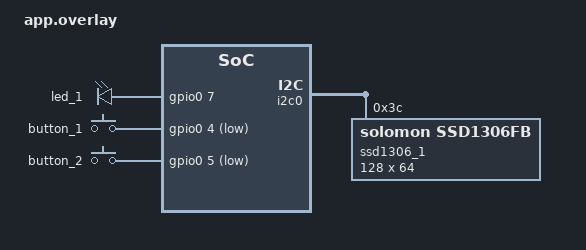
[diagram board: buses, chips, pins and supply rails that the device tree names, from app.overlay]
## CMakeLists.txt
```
cmake_minimum_required(VERSION 3.20.0)

set(BOARD esp32s3_devkitc/esp32s3/procpu)
#set(BOARD esp32_devkitc/esp32/procpu)

find_package(Zephyr REQUIRED HINTS $ENV{ZEPHYR_BASE})
project(button_demo)
include_directories(include)

target_sources(app PRIVATE src/main.c src/ssd1306.c)
```

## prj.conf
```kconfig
CONFIG_CONSOLE=y
CONFIG_SERIAL=y
CONFIG_UART_CONSOLE=y
CONFIG_GPIO=y
CONFIG_I2C=y
CONFIG_DISPLAY=y
CONFIG_SSD1306=y
CONFIG_CHARACTER_FRAMEBUFFER=y
```

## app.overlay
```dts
/{
	aliases{
		button1 = &button_1;
		button2 = &button_2;
		led1 = &led_1;
		oled=&ssd1306_1;
	};

	leds{
		compatible = "gpio-leds";
		led_1:led_1{
			gpios = <&gpio0 7 GPIO_ACTIVE_HIGH>;
		};
	};
	buttons{
		compatible = "gpio-keys";
		button_1:button_1{
			gpios = <&gpio0 4 (GPIO_ACTIVE_LOW | GPIO_PULL_UP)>;
		};
		button_2:button_2{
			gpios = <&gpio0 5 (GPIO_ACTIVE_LOW | GPIO_PULL_UP)>;
		};
	};


};


&i2c0{
	status = "okay";
	pinctrl-0 = <&i2c0_default>;
	pinctrl-names = "default";
	ssd1306_1:ssd1306@3c{
		compatible = "solomon,ssd1306fb";
		reg =<0x3c>;
		segment-offset = <0>;
		page-offset = <0>;
		display-offset=<0>;
		multiplex-ratio = <63>;
		prechargep = <0x22>;
		width = <128>;
		height = <64>;
	};
};
```

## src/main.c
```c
#include <zephyr/kernel.h>
#include <zephyr/device.h>
#include <zephyr/drivers/gpio.h>
#include <zephyr/drivers/i2c.h>
#include <zephyr/drivers/display.h>
#include <zephyr/display/cfb.h>
#include <zephyr/sys/printk.h>
#include <string.h>
#include <stdio.h>

#define LED DT_ALIAS(led1)
#define BUTTON DT_ALIAS(button1)
#define BUTTON_NEXT DT_ALIAS(button2)
#define OLED DT_ALIAS(oled)
static const struct gpio_dt_spec led = GPIO_DT_SPEC_GET(LED, gpios);   
static const struct gpio_dt_spec button = GPIO_DT_SPEC_GET(BUTTON, gpios);
static const struct gpio_dt_spec button_next = GPIO_DT_SPEC_GET(BUTTON_NEXT, gpios);

static const struct device *ssd1306 = DEVICE_DT_GET(OLED);


#define blink_times_ms  100

    struct cfb_position start_rec = {
        .x = 10,
        .y = 0,
    };
    struct cfb_position end_rec = {
        .x = 20,
        .y = 5,
    };
int count=0;
int main(void){
    if(!gpio_is_ready_dt(&led)){
        printf("led is not ready\n");
        return 0;
    }

    if (!gpio_is_ready_dt(&button) || !gpio_is_ready_dt(&button_next)){
        printf("button is not ready\n");
        return 0;
    }
    //CHECK IF THE OLED IS READY 
    if(!device_is_ready(ssd1306)){
        printf("oled not ready\n");
        return 0;
    }


    gpio_pin_configure_dt(&led, GPIO_OUTPUT);

    gpio_pin_configure_dt(&button, GPIO_INPUT);
    gpio_pin_configure_dt(&button_next, GPIO_INPUT);
     if (cfb_framebuffer_init(ssd1306)) {
        return -EIO;
    }
    if(display_set_orientation(ssd1306, DISPLAY_ORIENTATION_ROTATED_270) !=0){
            printf("orientation not set\n");
            //return 0;
        }
    cfb_framebuffer_clear(ssd1306, false);
    display_blanking_off(ssd1306);
    cfb_framebuffer_clear(ssd1306, true);
   
    bool state; 
    char nom[] = "Count: ";
    char message[100];
    
    struct cfb_position start = {
        .x= 0,
        .y=15,
    };
    struct cfb_position end = {
        .x = 128,
        .y = 15,
    };
    struct cfb_position circle = {
        .x = 25,
        .y = 40,
    };
    cfb_framebuffer_invert(ssd1306);
    while(1){
        state = gpio_pin_get_dt(&button);
        if(gpio_pin_get_dt(&button_next)){
            end_rec.y = end_rec.y + 2;
            start_rec.y = start_rec.y + 2;
            printf(" end_rec.x %d\n",  end_rec.x);
            printf(" start_rec.x  %d\n",  start_rec.x );
            if(end_rec.y >=64 || start_rec.y >=59 ){
                end_rec.y=5;
                start_rec.y=0;
  
            }
        }
 
        printf("end_rec.x  %d\n", end_rec.x);
        snprintf(message, sizeof(message), "Count : %d", count);
        cfb_framebuffer_clear(ssd1306, false);
        //cfb_print(ssd1306, message, 20, 20);
        cfb_draw_line(ssd1306, &start, &end );   //draw line 
        draw_acceuil(ssd1306);
        
        draw_circles(ssd1306, count);
        //cfb_framebuffer_set_font(ssd1306, 0.5);
        //cfb_framebuffer_clear(ssd1306, true);
       cfb_draw_rect(ssd1306, &start_rec, &end_rec);
        if(state){
            gpio_pin_toggle_dt(&led);
            count++;
            end_rec.x = end_rec.x + 4;
            start_rec.x = start_rec.x + 4;
            printf(" end_rec.x %d\n",  end_rec.x);
            printf(" start_rec.x  %d\n",  start_rec.x );
            if(end_rec.x >=128 || start_rec.x >=118 ){
                end_rec.x=20;
                start_rec.x=010;
  
            }

        }
        
    cfb_framebuffer_finalize(ssd1306);
    
        k_msleep(blink_times_ms);
    }
}
```

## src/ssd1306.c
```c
#include "ssd1306.h"

#define CIRCLE_CENTER_X   64
#define CIRCLE_CENTER_Y   32
#define CIRCLE_MIN_RADIUS 2
#define CIRCLE_MAX_RADIUS 30
#define CIRCLE_COUNT      4
#define CIRCLE_SPACING    (CIRCLE_MAX_RADIUS / CIRCLE_COUNT)
#define CIRCLE_GROWTH_STEP 1
#define TIME_POSX  0
#define TIME_POSY  0

#define INTRO_POSX  30
#define INTRO_POSY  20

//wifi barres conf 
struct cfb_position start1 = {
        .x= 2,
        .y=10,
    };
 struct cfb_position end1 = {
        .x = 2,
        .y = 9,
    };
 struct cfb_position start2 = {
        .x= 5,
        .y=10,
    };
struct cfb_position end2 = {
        .x = 5,
        .y = 6,
    };
 struct cfb_position start3 = {
        .x= 8,
        .y=10,
    };
struct cfb_position end3 = {
        .x = 8,
        .y = 3,
    };
 struct cfb_position start4 = {
        .x= 11,
        .y=10,
    };
struct cfb_position end4 = {
        .x = 11,
        .y = 0,
    };


void position_nomber_of_cercle(struct cfb_position *tab[], int number){
    for(int i=0; i<number; i++){
        tab[i]->x = i+2;
        tab[i]->y = i+2;
    }
}

void draw_circles(const struct device *dev, int numbers){
    ARG_UNUSED(numbers);

    static int radius = CIRCLE_MIN_RADIUS;

    struct cfb_position center = {
        .x = CIRCLE_CENTER_X,
        .y = CIRCLE_CENTER_Y,
    };

    for (int i = 0; i < CIRCLE_COUNT; i++) {
        int r = ((radius + i * CIRCLE_SPACING - CIRCLE_MIN_RADIUS) % (CIRCLE_MAX_RADIUS - CIRCLE_MIN_RADIUS))
                + CIRCLE_MIN_RADIUS;
        cfb_draw_circle(dev, &center, r);
    }

    radius += CIRCLE_GROWTH_STEP;
    if (radius >= CIRCLE_MAX_RADIUS) {
        radius = CIRCLE_MIN_RADIUS;
    }
}

void draw_wifi(const struct device *dev){
    cfb_draw_line(dev, &start1, &end1);
    cfb_draw_line(dev, &start2, &end2);
    cfb_draw_line(dev, &start3, &end3);
    cfb_draw_line(dev, &start4, &end4);
}

struct cfb_position startbat = {
        .x= 110,
        .y=10,
    };
struct cfb_position endbat = {
        .x = 126,
        .y = 1,
    };
struct cfb_position startbatf = {
        .x= 109,
        .y=8,
    };
struct cfb_position endbatf = {
        .x = 109,
        .y = 3,
    };

//purcent barre
struct cfb_position startbatpur1 = {
        .x= 124,
        .y=8,
    };
struct cfb_position endbatpur1 = {
        .x = 124,
        .y = 3,
    };

struct cfb_position startbatpur2 = {
        .x= 122,
        .y=8,
    };
struct cfb_position endbatpur2 = {
        .x = 122,
        .y = 3,
    };
struct cfb_position startbatpur3 = {
        .x= 120,
        .y=8,
    };
struct cfb_position endbatpur3 = {
        .x = 120,
        .y = 3,
    };
struct cfb_position startbatpur4 = {
        .x= 118,
        .y=8,
    };
struct cfb_position endbatpur4 = {
        .x = 118,
        .y = 3,
    };
struct cfb_position startbatpur5 = {
        .x= 116,
        .y=8,
    };
struct cfb_position endbatpur5 = {
        .x = 116,
        .y = 3,
    };
struct cfb_position startbatpur6 = {
        .x= 114,
        .y=8,
    };
struct cfb_position endbatpur6 = {
        .x = 114,
        .y = 3,
    };

void write_introduction(const struct device *dev){
    cfb_draw_text(dev, "Welcome", INTRO_POSX, INTRO_POSY);
    if(cfb_draw_text(dev, "To IESD", INTRO_POSX, INTRO_POSY+20)!=0){
        printf("intro not print\n");
        return;
    }
}

void draw_batterie(const struct device *dev){
    
    cfb_draw_rect(dev, &startbat, &endbat);
    cfb_draw_line(dev, &startbatf, &endbatf);
    //draw bar purcentage 
    cfb_draw_line(dev, &startbatpur1, &endbatpur1);
    cfb_draw_line(dev, &startbatpur2, &endbatpur2);
    cfb_draw_line(dev, &startbatpur3, &endbatpur3);
    cfb_draw_line(dev, &startbatpur4, &endbatpur4);
    cfb_draw_line(dev, &startbatpur5, &endbatpur5);
}

void draw_acceuil(const struct device *dev){
    //cfb_framebuffer_set_font(dev, 2);
    if(cfb_set_kerning(dev, 0.001)!=0){
        printf("space between letter not set \n");
        return;
    }

    draw_wifi(dev);  //draw wifi
    draw_batterie(dev);
    write_introduction(dev);
    /*if(cfb_draw_text(dev, "wifi", TIME_POSX, TIME_POSY)!=0){
        printf("hours not print\n");
        return;
    }*/
            
            //
}
```

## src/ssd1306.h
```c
#ifndef SSD1306_H
#define SSD1306_H

#include <zephyr/kernel.h>
#include <zephyr/device.h>
#include <zephyr/drivers/gpio.h>
#include <zephyr/drivers/i2c.h>
#include <zephyr/drivers/display.h>
#include <zephyr/display/cfb.h>
#include <zephyr/sys/printk.h>
#include <string.h>
#include <stdio.h>
#include <time.h>

void draw_circle(const struct device dev);
void position_nomber_of_cercle(struct cfb_position *tab[], int number);
void draw_circles(const struct device *dev, int numbers);
void draw_acceuil(const struct device *dev);

#endif
```
